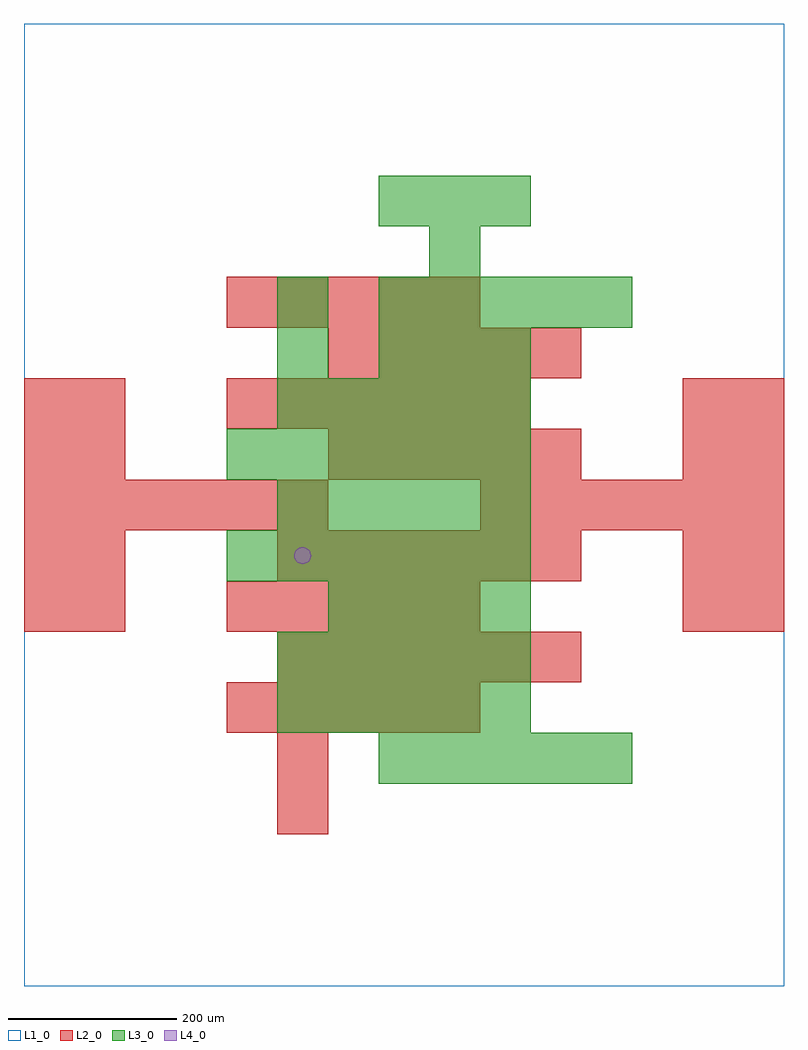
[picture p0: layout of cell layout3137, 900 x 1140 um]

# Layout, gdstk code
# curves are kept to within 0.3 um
import gdstk
lib = gdstk.Library(unit=1e-6, precision=1e-09)
def R(c, l, rs):  # rectangles x0, y0, x1, y1
    for r in rs: c.add(gdstk.rectangle(r[:2], r[2:], *l))
def A(c, l, x, y, w, h, nx, ny, dx, dy):  # array of equal rectangles
    R(c, l, [(x+i*dx, y+j*dy, x+i*dx+w, y+j*dy+h) for i in range(nx) for j in range(ny)])
def P(c, l, *ps):  # polygons
    for p in ps: c.add(gdstk.Polygon(p, *l))
L1_0 = (1, 0)
L2_0 = (2, 0)
L3_0 = (3, 0)
L4_0 = (4, 0)

layout3137 = lib.new_cell('layout3137')
R(layout3137, L1_0, [(0,0,900,1140)])
A(layout3137, L2_0, 240, 300, 60, 60, 5, 2, 60, 120)
A(layout3137, L2_0, 300, 360, 60, 60, 6, 2, 60, 120)
A(layout3137, L2_0, 0, 540, 60, 60, 6, 1, 60, 0)
A(layout3137, L2_0, 540, 540, 60, 60, 6, 1, 60, 0)
A(layout3137, L2_0, 360, 600, 60, 60, 5, 2, 60, 120)
A(layout3137, L2_0, 240, 660, 60, 60, 6, 1, 60, 0)
A(layout3137, L2_0, 240, 780, 60, 60, 5, 1, 60, 0)
R(layout3137, L2_0, [(300,180,360,240), (300,240,360,300), (0,420,60,480), (60,420,120,480), (780,420,840,480), (840,420,900,480), (0,480,60,540), (60,480,120,540), (780,480,840,540), (840,480,900,540), (0,600,60,660), (60,600,120,660), (780,600,840,660), (840,600,900,660), (0,660,60,720), (60,660,120,720), (780,660,840,720), (840,660,900,720)])
A(layout3137, L3_0, 420, 240, 60, 60, 5, 2, 60, 540)
A(layout3137, L3_0, 300, 300, 60, 60, 5, 2, 60, 60)
A(layout3137, L3_0, 360, 420, 60, 60, 4, 1, 60, 0)
A(layout3137, L3_0, 240, 480, 60, 60, 6, 2, 60, 120)
A(layout3137, L3_0, 300, 540, 60, 60, 5, 2, 60, 120)
A(layout3137, L3_0, 420, 720, 60, 60, 3, 2, 60, 180)
R(layout3137, L3_0, [(300,720,360,780), (300,780,360,840), (480,840,540,900)])
P(layout3137, L4_0, [(340,510),(339.239,513.827),(337.071,517.071),(333.827,519.239),(330,520),(326.173,519.239),(322.929,517.071),(320.761,513.827),(320,510),(320.761,506.173),(322.929,502.929),(326.173,500.761),(330,500),(333.827,500.761),(337.071,502.929),(339.239,506.173)])

lib.write_gds('layout3137.gds')
